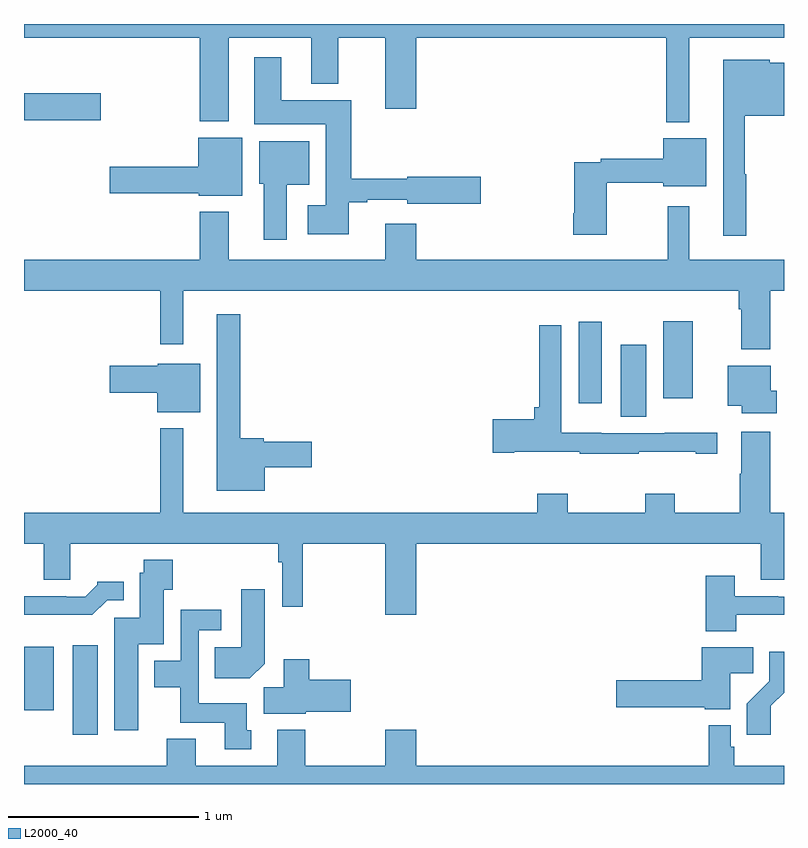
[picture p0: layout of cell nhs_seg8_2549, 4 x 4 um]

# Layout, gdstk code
import gdstk
lib = gdstk.Library(unit=1e-6, precision=1e-09)
def R(c, l, rs):  # rectangles x0, y0, x1, y1
    for r in rs: c.add(gdstk.rectangle(r[:2], r[2:], *l))
def P(c, l, *ps):  # polygons
    for p in ps: c.add(gdstk.Polygon(p, *l))
L2000_40 = (2000, 40)

nhs_seg8_2549 = lib.new_cell('nhs_seg8_2549')
R(nhs_seg8_2549, L2000_40, [(271.256,1118.16,271.387,1118.629), (271,1118.289,271.156,1118.623), (274.142,1119.832,274.276,1120.213), (273.92,1119.903,274.042,1120.333), (274.364,1119.93,274.519,1120.336), (271,1121.393,271.405,1121.535)])
P(nhs_seg8_2549, L2000_40, [(274.501,1121.828),(275,1121.828),(275,1121.9),(271,1121.9),(271,1121.828),(271.925,1121.828),(271.925,1121.387),(272.077,1121.387),(272.077,1121.828),(272.513,1121.828),(272.513,1121.585),(272.653,1121.585),(272.653,1121.828),(272.9,1121.828),(272.9,1121.454),(273.064,1121.454),(273.064,1121.828),(274.38,1121.828),(274.38,1121.384),(274.501,1121.384)],
  [(272.71,1120.962),(272.806,1120.962),(272.806,1120.974),(273.018,1120.974),(273.018,1120.954),(273.403,1120.954),(273.403,1121.096),(273.018,1121.096),(273.018,1121.086),(272.723,1121.086),(272.723,1121.5),(272.353,1121.5),(272.353,1121.725),(272.213,1121.725),(272.213,1121.372),(272.588,1121.372),(272.588,1120.945),(272.493,1120.945),(272.493,1120.793),(272.71,1120.793)],
  [(274.801,1121.109),(274.793,1121.109),(274.793,1121.417),(275,1121.417),(275,1121.695),(274.926,1121.695),(274.926,1121.713),(274.679,1121.713),(274.679,1120.785),(274.801,1120.785)],
  [(272.149,1121.302),(271.916,1121.302),(271.916,1121.15),(271.452,1121.15),(271.452,1121.008),(271.92,1121.008),(271.92,1120.997),(272.149,1120.997)],
  [(274.068,1121.064),(274.364,1121.064),(274.364,1121.045),(274.591,1121.045),(274.591,1121.299),(274.364,1121.299),(274.364,1121.192),(274.036,1121.192),(274.036,1121.172),(273.895,1121.172),(273.895,1120.903),(273.89,1120.903),(273.89,1120.791),(274.068,1120.791)],
  [(272.383,1121.054),(272.5,1121.054),(272.5,1121.284),(272.237,1121.284),(272.237,1121.058),(272.261,1121.058),(272.261,1120.764),(272.383,1120.764)],
  [(274.928,1120.496),(275,1120.496),(275,1120.66),(274.501,1120.66),(274.501,1120.942),(274.387,1120.942),(274.387,1120.66),(273.064,1120.66),(273.064,1120.849),(272.9,1120.849),(272.9,1120.66),(272.077,1120.66),(272.077,1120.912),(271.925,1120.912),(271.925,1120.66),(271,1120.66),(271,1120.496),(271.716,1120.496),(271.716,1120.215),(271.837,1120.215),(271.837,1120.496),(274.763,1120.496),(274.763,1120.4),(274.775,1120.4),(274.775,1120.187),(274.928,1120.187)],
  [(272.266,1119.566),(272.515,1119.566),(272.515,1119.701),(272.262,1119.701),(272.262,1119.719),(272.137,1119.719),(272.137,1120.372),(272.015,1120.372),(272.015,1119.443),(272.266,1119.443)],
  [(274.235,1119.649),(274.535,1119.649),(274.535,1119.639),(274.648,1119.639),(274.648,1119.749),(274.372,1119.749),(274.372,1119.747),(274.038,1119.747),(274.038,1119.748),(273.828,1119.748),(273.828,1120.315),(273.712,1120.315),(273.712,1119.883),(273.686,1119.883),(273.686,1119.821),(273.468,1119.821),(273.468,1119.643),(273.58,1119.643),(273.58,1119.649),(273.925,1119.649),(273.925,1119.639),(274.235,1119.639)],
  [(271.927,1120.111),(271.704,1120.111),(271.704,1120.101),(271.452,1120.101),(271.452,1119.959),(271.7,1119.959),(271.7,1119.857),(271.927,1119.857)],
  [(274.961,1119.969),(274.93,1119.969),(274.93,1120.102),(274.703,1120.102),(274.703,1119.89),(274.778,1119.89),(274.778,1119.851),(274.961,1119.851)],
  [(273.064,1119.164),(274.877,1119.164),(274.877,1118.974),(275,1118.974),(275,1119.328),(274.928,1119.328),(274.928,1119.754),(274.775,1119.754),(274.775,1119.533),(274.768,1119.533),(274.768,1119.328),(274.425,1119.328),(274.425,1119.427),(274.27,1119.427),(274.27,1119.328),(273.861,1119.328),(273.861,1119.427),(273.701,1119.427),(273.701,1119.328),(271.837,1119.328),(271.837,1119.772),(271.716,1119.772),(271.716,1119.328),(271,1119.328),(271,1119.164),(271.103,1119.164),(271.103,1118.974),(271.243,1118.974),(271.243,1119.164),(272.338,1119.164),(272.338,1119.068),(272.358,1119.068),(272.358,1118.832),(272.467,1118.832),(272.467,1119.164),(272.9,1119.164),(272.9,1118.79),(273.064,1118.79)],
  [(271.6,1118.636),(271.735,1118.636),(271.735,1118.923),(271.782,1118.923),(271.782,1119.079),(271.63,1119.079),(271.63,1119.012),(271.61,1119.012),(271.61,1118.775),(271.475,1118.775),(271.475,1118.184),(271.6,1118.184)],
  [(274.749,1118.79),(275,1118.79),(275,1118.886),(274.97,1118.886),(274.97,1118.889),(274.741,1118.889),(274.741,1118.995),(274.589,1118.995),(274.589,1118.705),(274.749,1118.705)],
  [(271.437,1118.868),(271.525,1118.868),(271.525,1118.965),(271.386,1118.965),(271.386,1118.95),(271.322,1118.886),(271.223,1118.886),(271.223,1118.889),(271,1118.889),(271,1118.79),(271.359,1118.79)],
  [(272.266,1118.534),(272.266,1118.926),(272.144,1118.926),(272.144,1118.62),(272.005,1118.62),(272.005,1118.456),(272.188,1118.456)],
  [(272.197,1118.184),(272.173,1118.184),(272.173,1118.326),(271.92,1118.326),(271.92,1118.709),(272.038,1118.709),(272.038,1118.818),(271.824,1118.818),(271.824,1118.548),(271.685,1118.548),(271.685,1118.408),(271.822,1118.408),(271.822,1118.222),(272.057,1118.222),(272.057,1118.082),(272.197,1118.082)],
  [(274.717,1118.482),(274.838,1118.482),(274.838,1118.62),(274.568,1118.62),(274.568,1118.447),(274.116,1118.447),(274.116,1118.305),(274.584,1118.305),(274.584,1118.294),(274.717,1118.294)],
  [(274.93,1118.311),(275,1118.381),(275,1118.596),(274.923,1118.596),(274.923,1118.441),(274.804,1118.322),(274.804,1118.16),(274.93,1118.16)],
  [(272.484,1118.279),(272.719,1118.279),(272.719,1118.45),(272.501,1118.45),(272.501,1118.557),(272.366,1118.557),(272.366,1118.408),(272.261,1118.408),(272.261,1118.27),(272.484,1118.27)],
  [(275,1117.996),(274.739,1117.996),(274.739,1118.097),(274.719,1118.097),(274.719,1118.209),(274.603,1118.209),(274.603,1117.996),(273.064,1117.996),(273.064,1118.185),(272.9,1118.185),(272.9,1117.996),(272.481,1117.996),(272.481,1118.185),(272.333,1118.185),(272.333,1117.996),(271.903,1117.996),(271.903,1118.137),(271.751,1118.137),(271.751,1117.996),(271,1117.996),(271,1117.9),(275,1117.9)])

lib.write_gds('nhs_seg8_2549.gds')
